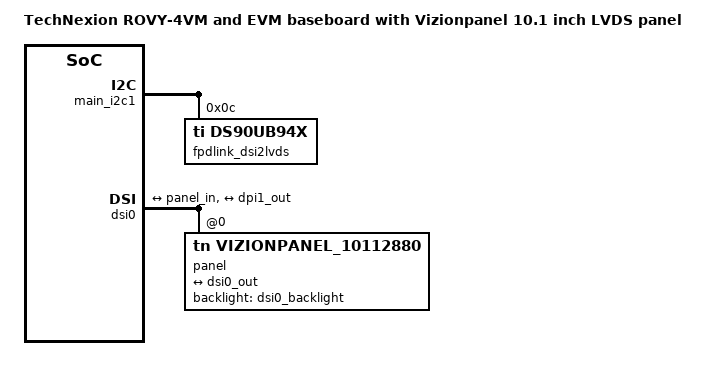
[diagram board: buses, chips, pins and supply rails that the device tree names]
// SPDX-License-Identifier: GPL-2.0
/*
 * Copyright (C) 2019 Texas Instruments Incorporated - https://www.ti.com/
 * Copyright (C) 2023 TechNexion Ltd.
 *
 * Author: Richard Hu <richard.hu@technexion.com>
 */

/dts-v1/;
/plugin/;

#include <dt-bindings/gpio/gpio.h>
#include <dt-bindings/interrupt-controller/irq.h>
#include "k3-pinctrl.h"

/ {
	fragment@101 {
		target-path = "/";

		__overlay__ {
			model = "TechNexion ROVY-4VM and EVM baseboard with Vizionpanel 10.1 inch LVDS panel";

			reg_dsi_pwr_switch: dsi_pwr_switch {  /* DSI0_3V3 */
				regulator-always-on;
				status = "okay";
			};

			reg_dsi0_vdden: dsi0_vdden {
				status = "okay";
			};

			reg_dsi0_bl_en: dsi0_bl_en {
				status = "okay";
			};

			dsi0_backlight: dsi0_backlight {
				status = "okay";
			};
		};
	};
};

&main_i2c1 {
	#address-cells = <1>;
	#size-cells = <0>;
	status = "okay";
/*
	exc80w46: touchscreen@2a {
		compatible = "eeti,exc80h60";
		pinctrl-names = "default";
		pinctrl-0 = <&main_mipi_touch_irq_pins_default>;
		reg = <0x2a>;
		interrupt-parent = <&main_gpio1>;
		interrupts = <24 IRQ_TYPE_EDGE_FALLING>;
		status = "okay";
	};
*/

	fpdlink_dsi2lvds: ds90ub948@0c {
		compatible = "ti,ds90ub94x";
		reg = <0x0c>;
		status = "okay";
		//reset-gpios = <&pca9554_dsi0_23 4 GPIO_ACTIVE_LOW>;
	};

};

&dss_ports {
	#address-cells = <1>;
	#size-cells = <0>;

	port@2 {
		reg = <2>;

		dpi1_out: endpoint {
			remote-endpoint = <&dsi0_in>;
		};
	};
};

&dsi0 {
	ports {
		#address-cells = <1>;
		#size-cells = <0>;

		port@0 {
			reg = <0>;
			dsi0_out: endpoint {
				remote-endpoint = <&panel_in>;
			};
		};

		port@1 {
			reg = <1>;
			dsi0_in: endpoint {
				remote-endpoint = <&dpi1_out>;
			};
		};
	};

	panel@0 {
		compatible = "tn,vizionpanel_10112880";
		reg = <0>;
		backlight = <&dsi0_backlight>;
		status = "okay";

		port {
			panel_in: endpoint {
				remote-endpoint = <&dsi0_out>;
			};
		};
	};
};

&dphy2 {
	assigned-clocks = <&k3_clks 296 3>;
	assigned-clock-parents = <&k3_clks 296 4>;
	assigned-clock-rates = <19200000>;
};
